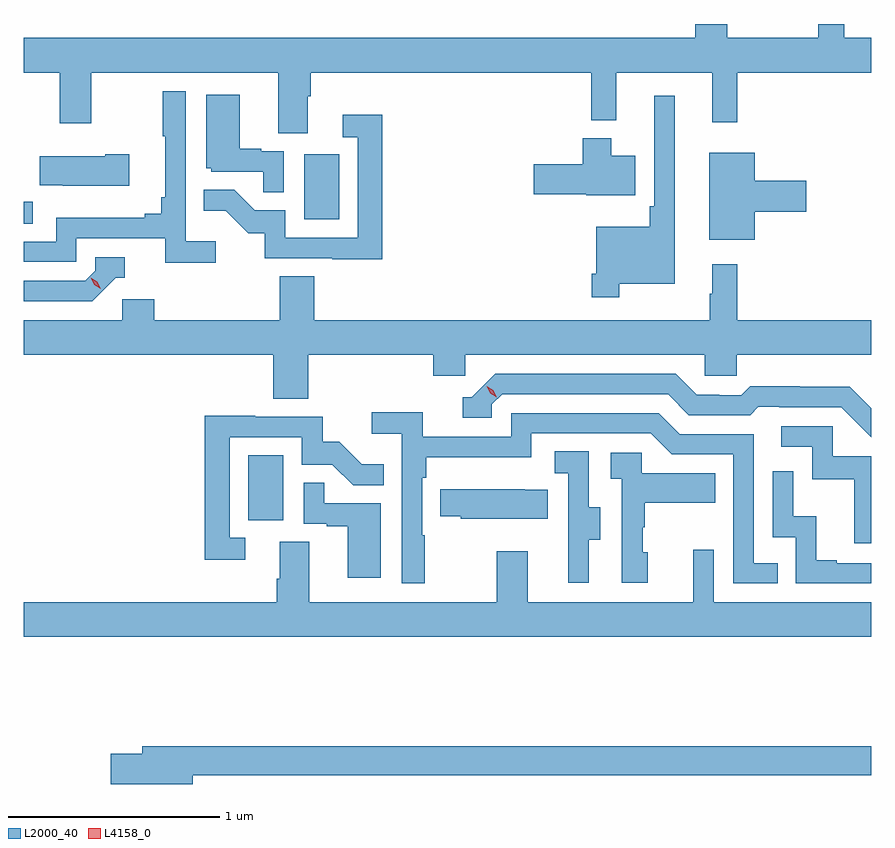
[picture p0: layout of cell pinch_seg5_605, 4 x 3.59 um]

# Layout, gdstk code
import gdstk
lib = gdstk.Library(unit=1e-6, precision=1e-09)
def R(c, l, rs):  # rectangles x0, y0, x1, y1
    for r in rs: c.add(gdstk.rectangle(r[:2], r[2:], *l))
def P(c, l, *ps):  # polygons
    for p in ps: c.add(gdstk.Polygon(p, *l))
L2000_40 = (2000, 40)
L4158_0 = (4158, 0)

pinch_seg5_605 = lib.new_cell('pinch_seg5_605')
R(pinch_seg5_605, L2000_40, [(1020.464,859.974,1020.628,860.281), (1019.404,861.376,1019.446,861.479), (1020.728,861.396,1020.892,861.703)])
P(pinch_seg5_605, L2000_40, [(1020.745,861.976),(1020.758,861.976),(1020.758,862.088),(1022.083,862.088),(1022.083,861.863),(1022.201,861.863),(1022.201,862.088),(1022.654,862.088),(1022.654,861.855),(1022.771,861.855),(1022.771,862.088),(1023.404,862.088),(1023.404,862.252),(1023.277,862.252),(1023.277,862.318),(1023.155,862.318),(1023.155,862.252),(1022.725,862.252),(1022.725,862.318),(1022.573,862.318),(1022.573,862.252),(1019.404,862.252),(1019.404,862.088),(1019.573,862.088),(1019.573,861.849),(1019.721,861.849),(1019.721,862.088),(1020.605,862.088),(1020.605,861.802),(1020.745,861.802)],
  [(1020.31,861.292),(1020.168,861.292),(1020.168,862),(1020.06,862),(1020.06,861.787),(1020.071,861.787),(1020.071,861.499),(1020.052,861.499),(1020.052,861.422),(1019.975,861.422),(1019.975,861.403),(1019.556,861.403),(1019.556,861.291),(1019.404,861.291),(1019.404,861.195),(1019.652,861.195),(1019.652,861.306),(1020.071,861.306),(1020.071,861.19),(1020.31,861.19)],
  [(1020.63,861.717),(1020.524,861.717),(1020.524,861.73),(1020.424,861.73),(1020.424,861.985),(1020.266,861.985),(1020.266,861.636),(1020.288,861.636),(1020.288,861.621),(1020.535,861.621),(1020.535,861.523),(1020.63,861.523)],
  [(1022.215,861.092),(1022.476,861.092),(1022.476,861.979),(1022.379,861.979),(1022.379,861.457),(1022.359,861.457),(1022.359,861.361),(1022.106,861.361),(1022.106,861.139),(1022.086,861.139),(1022.086,861.027),(1022.215,861.027)],
  [(1021.097,861.889),(1020.909,861.889),(1020.909,861.783),(1020.981,861.783),(1020.981,861.309),(1020.639,861.309),(1020.639,861.438),(1020.495,861.438),(1020.397,861.536),(1020.253,861.536),(1020.253,861.437),(1020.357,861.437),(1020.464,861.33),(1020.541,861.33),(1020.541,861.213),(1020.859,861.213),(1020.859,861.208),(1021.097,861.208)],
  [(1022.29,861.697),(1022.176,861.697),(1022.176,861.778),(1022.042,861.778),(1022.042,861.657),(1021.812,861.657),(1021.812,861.515),(1022.058,861.515),(1022.058,861.509),(1022.29,861.509)],
  [(1022.854,861.431),(1023.097,861.431),(1023.097,861.578),(1022.854,861.578),(1022.854,861.709),(1022.639,861.709),(1022.639,861.299),(1022.854,861.299)],
  [(1019.902,861.702),(1019.789,861.702),(1019.789,861.694),(1019.479,861.694),(1019.479,861.557),(1019.587,861.557),(1019.587,861.554),(1019.902,861.554)],
  [(1019.838,861.12),(1019.881,861.12),(1019.881,861.216),(1019.742,861.216),(1019.742,861.153),(1019.694,861.105),(1019.404,861.105),(1019.404,861.009),(1019.727,861.009)],
  [(1020.776,861.128),(1020.611,861.128),(1020.611,860.92),(1020.02,860.92),(1020.02,861.018),(1019.868,861.018),(1019.868,860.92),(1019.404,860.92),(1019.404,860.756),(1020.581,860.756),(1020.581,860.548),(1020.746,860.548),(1020.746,860.756),(1021.337,860.756),(1021.337,860.658),(1021.488,860.658),(1021.488,860.756),(1022.619,860.756),(1022.619,860.658),(1022.769,860.658),(1022.769,860.756),(1023.404,860.756),(1023.404,860.92),(1022.771,860.92),(1022.771,861.184),(1022.654,861.184),(1022.654,861.044),(1022.643,861.044),(1022.643,860.92),(1020.776,860.92)],
  [(1023.404,860.503),(1023.302,860.605),(1023.066,860.605),(1023.066,860.608),(1022.833,860.608),(1022.791,860.565),(1022.688,860.565),(1022.688,860.568),(1022.581,860.568),(1022.482,860.667),(1021.629,860.667),(1021.518,860.556),(1021.475,860.556),(1021.475,860.46),(1021.614,860.46),(1021.614,860.523),(1021.662,860.571),(1022.445,860.571),(1022.544,860.472),(1022.833,860.472),(1022.872,860.511),(1022.971,860.511),(1022.971,860.508),(1023.264,860.508),(1023.404,860.368)],
  [(1021.297,859.904),(1021.284,859.904),(1021.284,860.177),(1021.304,860.177),(1021.304,860.273),(1021.8,860.273),(1021.8,860.385),(1022.364,860.385),(1022.463,860.286),(1022.754,860.286),(1022.754,859.677),(1022.963,859.677),(1022.963,859.773),(1022.85,859.773),(1022.85,860.382),(1022.5,860.382),(1022.401,860.481),(1021.704,860.481),(1021.704,860.37),(1021.286,860.37),(1021.286,860.486),(1021.047,860.486),(1021.047,860.384),(1021.188,860.384),(1021.188,859.677),(1021.297,859.677)],
  [(1020.448,859.893),(1020.375,859.893),(1020.375,860.367),(1020.717,860.367),(1020.717,860.238),(1020.861,860.238),(1020.959,860.14),(1021.103,860.14),(1021.103,860.239),(1020.999,860.239),(1020.892,860.346),(1020.816,860.346),(1020.816,860.463),(1020.497,860.463),(1020.497,860.468),(1020.259,860.468),(1020.259,859.788),(1020.448,859.788)],
  [(1023.404,860.277),(1023.222,860.277),(1023.222,860.418),(1022.979,860.418),(1022.979,860.322),(1023.126,860.322),(1023.126,860.169),(1023.325,860.169),(1023.325,859.866),(1023.404,859.866)],
  [(1022.071,859.882),(1022.125,859.882),(1022.125,860.037),(1022.07,860.037),(1022.07,860.3),(1021.911,860.3),(1021.911,860.197),(1021.974,860.197),(1021.974,859.893),(1021.973,859.893),(1021.973,859.68),(1022.071,859.68)],
  [(1022.35,859.824),(1022.325,859.824),(1022.325,859.943),(1022.335,859.943),(1022.335,860.057),(1022.669,860.057),(1022.669,860.197),(1022.322,860.197),(1022.322,860.295),(1022.175,860.295),(1022.175,860.171),(1022.226,860.171),(1022.226,859.68),(1022.35,859.68)],
  [(1023.404,859.773),(1023.241,859.773),(1023.241,859.786),(1023.146,859.786),(1023.146,859.994),(1023.036,859.994),(1023.036,860.206),(1022.94,860.206),(1022.94,859.896),(1023.048,859.896),(1023.048,859.677),(1023.404,859.677)],
  [(1021.09,860.055),(1020.821,860.055),(1020.821,860.153),(1020.726,860.153),(1020.726,859.959),(1020.833,859.959),(1020.833,859.947),(1020.932,859.947),(1020.932,859.704),(1021.09,859.704)],
  [(1021.877,860.119),(1021.769,860.119),(1021.769,860.122),(1021.369,860.122),(1021.369,859.993),(1021.467,859.993),(1021.467,859.982),(1021.877,859.982)],
  [(1023.404,859.588),(1022.661,859.588),(1022.661,859.837),(1022.564,859.837),(1022.564,859.588),(1021.783,859.588),(1021.783,859.828),(1021.636,859.828),(1021.636,859.588),(1020.751,859.588),(1020.751,859.874),(1020.611,859.874),(1020.611,859.7),(1020.599,859.7),(1020.599,859.588),(1019.404,859.588),(1019.404,859.424),(1023.404,859.424)],
  [(1020.202,858.772),(1023.404,858.772),(1023.404,858.908),(1019.963,858.908),(1019.963,858.872),(1019.814,858.872),(1019.814,858.73),(1020.202,858.73)])
P(pinch_seg5_605, L4158_0, [(1021.637,860.556),(1021.606,860.575),(1021.589,860.608),(1021.589,860.608),(1021.59,860.608),(1021.62,860.589),(1021.637,860.556),(1021.637,860.556)],
  [(1019.767,861.068),(1019.736,861.088),(1019.719,861.12),(1019.719,861.12),(1019.72,861.12),(1019.751,861.101),(1019.767,861.069),(1019.767,861.068)])

lib.write_gds('pinch_seg5_605.gds')
